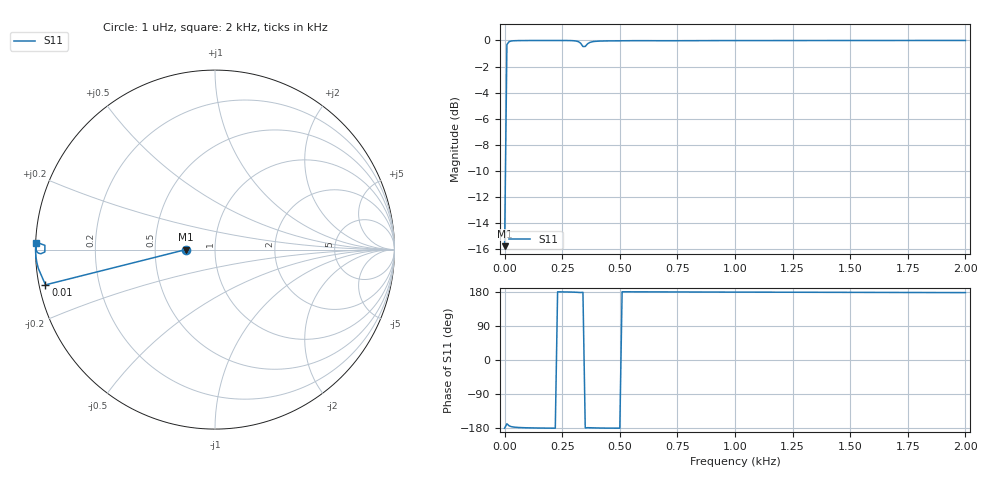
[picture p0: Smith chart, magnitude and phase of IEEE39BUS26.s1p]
! Touchstone Ver. 1.0
! Mon Dec  3 18:35:07 2012
! Number of ports is 1
# Hz	Y	RI	R	50.000000
! SCATTERING PARAMETERS  :
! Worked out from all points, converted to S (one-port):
!   201 points, 1 uHz to 2 kHz, reference 50 ohm
!   lowest |S11| = -15.8 dB at 1 uHz (marker M1), VSWR 1.39, Z = 36 - j0.00012 ohm
!   |S11| at or under -10 dB: start of sweep to 3.734 Hz
!   S11 on the Smith chart (normalised r, x): 1 uHz: 0.72, -0.00; 10 Hz: 0.02, -0.10; 2 kHz: 0.00, +0.02
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1e-06  1.389 4.63e-06
10  1.664 9.432
20  1.76 18.81
30  1.851 28.37
40  1.964 38.23
50  2.11 48.48
70  2.521 70.71
110  4.081 127.8
260  25.51 -372.2
300  21.05 -125.4
310  22.43 -92.99
320  24.44 -64.57
330  27.14 -38.68
340  30.67 -14.31
350  35.21 9.31
360  41.06 32.77
370  48.61 56.57
380  58.4 81.12
400  87.95 133.5
440  226.2 238.7
510  669.6 -9.555
640  93.89 -286.3
760  53.4 -214.7
1010  8.317 -129.6
1260  1.871 -93.33
1510  0.7297 -73.31
1760  0.2248 -61.03
2000  0.0523 -52.53
